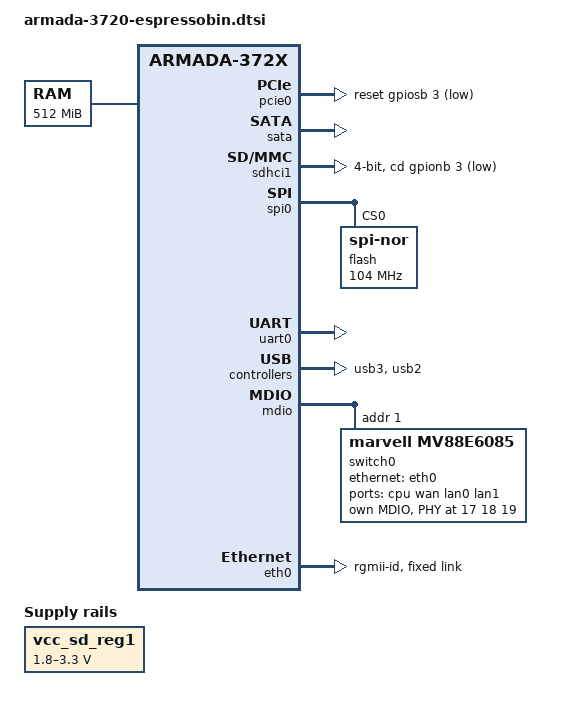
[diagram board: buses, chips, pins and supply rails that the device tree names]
// SPDX-License-Identifier: (GPL-2.0+ OR MIT)
/*
 * Device Tree file for Globalscale Marvell ESPRESSOBin Board
 * Copyright (C) 2016 Marvell
 *
 * Romain Perier <romain.perier@free-electrons.com>
 *
 */

#include <dt-bindings/gpio/gpio.h>
#include "armada-372x.dtsi"

/ {
	aliases {
		ethernet0 = &eth0;
		/* for dsa slave device */
		ethernet1 = &switch0port1;
		ethernet2 = &switch0port2;
		ethernet3 = &switch0port3;
	};

	chosen {
		stdout-path = "serial0:115200n8";
	};

	memory@0 {
		device_type = "memory";
		reg = <0x00000000 0x00000000 0x00000000 0x20000000>;
	};

	vcc_sd_reg1: regulator {
		compatible = "regulator-gpio";
		regulator-name = "vcc_sd1";
		regulator-min-microvolt = <1800000>;
		regulator-max-microvolt = <3300000>;
		regulator-boot-on;

		gpios = <&gpionb 4 GPIO_ACTIVE_HIGH>;
		gpios-states = <0>;
		states = <1800000 0x1
			  3300000 0x0>;
		enable-active-high;
	};

	led2: gpio-led2 {
		/* led2 is working only on v7 board */
		status = "disabled";

		compatible = "gpio-leds";

		led2 {
			label = "led2";
			gpios = <&gpionb 2 GPIO_ACTIVE_LOW>;
			default-state = "off";
		};
	};
};

/* J9 */
&pcie0 {
	status = "okay";
	pinctrl-names = "default";
	pinctrl-0 = <&pcie_reset_pins &pcie_clkreq_pins>;
	reset-gpios = <&gpiosb 3 GPIO_ACTIVE_LOW>;
};

/* J6 */
&sata {
	status = "okay";
};

/* U11 */
&sdhci0 {
	/* Main DTS file for Espressobin is without eMMC */
	status = "disabled";

	non-removable;
	bus-width = <8>;
	mmc-ddr-1_8v;
	mmc-hs400-1_8v;
	marvell,xenon-emmc;
	marvell,xenon-tun-count = <9>;
	marvell,pad-type = "fixed-1-8v";

	pinctrl-names = "default";
	pinctrl-0 = <&mmc_pins>;

	#address-cells = <1>;
	#size-cells = <0>;
	mmccard: mmccard@0 {
		compatible = "mmc-card";
		reg = <0>;
	};
};

/* J1 */
&sdhci1 {
	wp-inverted;
	bus-width = <4>;
	cd-gpios = <&gpionb 3 GPIO_ACTIVE_LOW>;
	marvell,pad-type = "sd";
	vqmmc-supply = <&vcc_sd_reg1>;

	pinctrl-names = "default";
	pinctrl-0 = <&sdio_pins>;
	status = "okay";
};

&spi0 {
	status = "okay";

	flash@0 {
		reg = <0>;
		compatible = "jedec,spi-nor";
		spi-max-frequency = <104000000>;
		m25p,fast-read;
	};
};

/* Exported on the micro USB connector J5 through an FTDI */
&uart0 {
	pinctrl-names = "default";
	pinctrl-0 = <&uart1_pins>;
	status = "okay";
};

/*
 * Connector J17 and J18 expose a number of different features. Some pins are
 * multiplexed. This is the case for instance for the following features:
 * - UART1 (pin 24 = RX, pin 26 = TX). See armada-3720-db.dts for an example of
 *   how to enable it. Beware that the signals are 1.8V TTL.
 * - I2C
 * - SPI
 * - MMC
 */

/* J7 */
&usb3 {
	status = "okay";
};

/* J8 */
&usb2 {
	status = "okay";
};

&mdio {
	switch0: switch0@1 {
		compatible = "marvell,mv88e6085";
		#address-cells = <1>;
		#size-cells = <0>;
		reg = <1>;

		dsa,member = <0 0>;

		ports {
			#address-cells = <1>;
			#size-cells = <0>;

			switch0port0: port@0 {
				reg = <0>;
				label = "cpu";
				ethernet = <&eth0>;
				phy-mode = "rgmii-id";
				fixed-link {
					speed = <1000>;
					full-duplex;
				};
			};

			switch0port1: port@1 {
				reg = <1>;
				label = "wan";
				phy-handle = <&switch0phy0>;
			};

			switch0port2: port@2 {
				reg = <2>;
				label = "lan0";
				phy-handle = <&switch0phy1>;
			};

			switch0port3: port@3 {
				reg = <3>;
				label = "lan1";
				phy-handle = <&switch0phy2>;
			};

		};

		mdio {
			#address-cells = <1>;
			#size-cells = <0>;

			switch0phy0: switch0phy0@11 {
				reg = <0x11>;
			};
			switch0phy1: switch0phy1@12 {
				reg = <0x12>;
			};
			switch0phy2: switch0phy2@13 {
				reg = <0x13>;
			};
		};
	};
};

&eth0 {
	pinctrl-names = "default";
	pinctrl-0 = <&rgmii_pins>, <&smi_pins>;
	phy-mode = "rgmii-id";
	status = "okay";

	fixed-link {
		speed = <1000>;
		full-duplex;
	};
};
